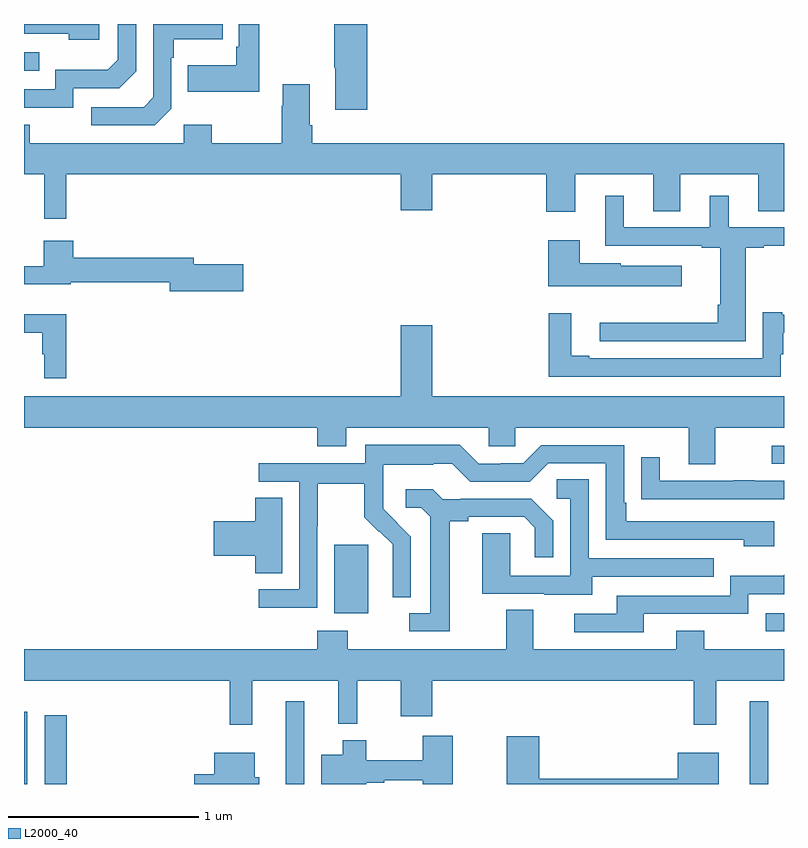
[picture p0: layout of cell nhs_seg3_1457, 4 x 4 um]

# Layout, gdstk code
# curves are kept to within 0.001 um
import gdstk
lib = gdstk.Library(unit=1e-6, precision=1e-09)
def R(c, l, rs):  # rectangles x0, y0, x1, y1
    for r in rs: c.add(gdstk.rectangle(r[:2], r[2:], *l))
def P(c, l, *ps):  # polygons
    for p in ps: c.add(gdstk.Polygon(p, *l))
L2000_40 = (2000, 40)

nhs_seg3_1457 = lib.new_cell('nhs_seg3_1457')
R(nhs_seg3_1457, L2000_40, [(187,672.4,187.018,672.781), (187.11,672.4,187.226,672.763), (188.378,672.4,188.475,672.835), (190.82,672.4,190.917,672.835), (190.905,673.203,191,673.299), (188.633,673.298,188.812,673.659), (190.935,674.085,191,674.181), (187,676.155,187.079,676.251)])
P(nhs_seg3_1457, L2000_40, [(187.396,676.4),(187,676.4),(187,676.35),(187.235,676.35),(187.235,676.316),(187.396,676.316)],
  [(188.239,676.4),(188.13,676.4),(188.13,676.279),(188.118,676.279),(188.118,676.183),(187.861,676.183),(187.861,676.043),(188.239,676.043)],
  [(188.807,676.4),(188.632,676.4),(188.632,676.171),(188.639,676.171),(188.639,675.948),(188.807,675.948)],
  [(187.776,675.954),(187.776,676.223),(187.789,676.223),(187.789,676.319),(188.045,676.319),(188.045,676.4),(187.68,676.4),(187.68,676.014),(187.629,675.963),(187.353,675.963),(187.353,675.867),(187.689,675.867)],
  [(187.26,676.062),(187.5,676.062),(187.59,676.152),(187.59,676.4),(187.494,676.4),(187.494,676.212),(187.441,676.159),(187.164,676.159),(187.164,676.056),(187,676.056),(187,675.96),(187.26,675.96)],
  [(187.223,675.608),(188.984,675.608),(188.984,675.42),(189.148,675.42),(189.148,675.608),(189.749,675.608),(189.749,675.411),(189.901,675.411),(189.901,675.608),(190.313,675.608),(190.313,675.415),(190.453,675.415),(190.453,675.608),(190.865,675.608),(190.865,675.415),(191,675.415),(191,675.772),(188.516,675.772),(188.516,675.868),(188.503,675.868),(188.503,676.084),(188.363,676.084),(188.363,675.971),(188.356,675.971),(188.356,675.772),(187.989,675.772),(187.989,675.871),(187.842,675.871),(187.842,675.772),(187.029,675.772),(187.029,675.871),(187,675.871),(187,675.608),(187.106,675.608),(187.106,675.375),(187.223,675.375)],
  [(190.798,675.222),(190.894,675.222),(190.894,675.234),(191,675.234),(191,675.33),(190.708,675.33),(190.708,675.496),(190.61,675.496),(190.61,675.33),(190.156,675.33),(190.156,675.496),(190.058,675.496),(190.058,675.234),(190.568,675.234),(190.568,675.222),(190.664,675.222),(190.664,674.923),(190.652,674.923),(190.652,674.828),(190.029,674.828),(190.029,674.73),(190.798,674.73)],
  [(190.462,675.127),(190.14,675.127),(190.14,675.142),(189.925,675.142),(189.925,675.262),(189.758,675.262),(189.758,675.02),(190.462,675.02)],
  [(188.155,675.135),(187.894,675.135),(187.894,675.169),(187.259,675.169),(187.259,675.259),(187.103,675.259),(187.103,675.126),(187,675.126),(187,675.029),(187.246,675.029),(187.246,675.04),(187.766,675.04),(187.766,674.993),(188.155,674.993)],
  [(190.984,674.663),(190.996,674.663),(190.996,674.774),(191,674.774),(191,674.871),(190.99,674.871),(190.99,674.884),(190.887,674.884),(190.887,674.64),(189.976,674.64),(189.976,674.653),(189.88,674.653),(189.88,674.878),(189.763,674.878),(189.763,674.544),(190.984,674.544)],
  [(187.223,674.872),(187,674.872),(187,674.774),(187.095,674.774),(187.095,674.663),(187.106,674.663),(187.106,674.535),(187.223,674.535)],
  [(190.639,674.276),(191,674.276),(191,674.44),(189.148,674.44),(189.148,674.815),(188.984,674.815),(188.984,674.44),(187,674.44),(187,674.276),(188.543,674.276),(188.543,674.177),(188.695,674.177),(188.695,674.276),(189.447,674.276),(189.447,674.178),(189.585,674.178),(189.585,674.276),(190.499,674.276),(190.499,674.082),(190.639,674.082)],
  [(188.544,673.756),(188.547,673.756),(188.547,673.98),(188.791,673.98),(188.791,673.805),(188.868,673.728),(188.871,673.731),(188.942,673.661),(188.942,673.538),(188.94,673.538),(188.94,673.384),(189.036,673.384),(189.036,673.702),(188.89,673.85),(188.89,673.947),(188.892,673.947),(188.892,674.081),(189.155,674.081),(189.155,674.085),(189.255,674.085),(189.348,673.992),(189.663,673.992),(189.759,674.088),(190.062,674.088),(190.062,673.686),(190.787,673.686),(190.787,673.652),(190.948,673.652),(190.948,673.782),(190.171,673.782),(190.171,673.879),(190.158,673.879),(190.158,674.184),(189.723,674.184),(189.627,674.088),(189.509,674.088),(189.509,674.085),(189.393,674.085),(189.293,674.185),(188.796,674.185),(188.796,674.088),(188.235,674.088),(188.235,673.992),(188.448,673.992),(188.448,673.425),(188.235,673.425),(188.235,673.327),(188.544,673.327)],
  [(191,673.995),(190.847,673.995),(190.847,674),(190.735,674),(190.735,673.995),(190.345,673.995),(190.345,674.119),(190.249,674.119),(190.249,673.9),(190.351,673.9),(190.351,673.899),(191,673.899)],
  [(189.991,673.491),(190.631,673.491),(190.631,673.587),(189.972,673.587),(189.972,674.003),(189.804,674.003),(189.804,673.902),(189.876,673.902),(189.876,673.497),(189.558,673.497),(189.558,673.721),(189.413,673.721),(189.413,673.401),(189.737,673.401),(189.737,673.397),(189.991,673.397)],
  [(189.241,673.784),(189.337,673.784),(189.337,673.806),(189.632,673.806),(189.689,673.749),(189.689,673.593),(189.786,673.593),(189.786,673.786),(189.67,673.902),(189.298,673.902),(189.298,673.899),(189.204,673.899),(189.152,673.951),(189.009,673.951),(189.009,673.854),(189.09,673.854),(189.137,673.807),(189.137,673.299),(189.027,673.299),(189.027,673.203),(189.241,673.203)],
  [(188.359,673.907),(188.216,673.907),(188.216,673.784),(187.998,673.784),(187.998,673.601),(188.216,673.601),(188.216,673.51),(188.359,673.51)],
  [(190.261,673.296),(190.812,673.296),(190.812,673.398),(191,673.398),(191,673.502),(190.993,673.495),(190.716,673.495),(190.716,673.392),(190.121,673.392),(190.121,673.296),(189.897,673.296),(189.897,673.2),(190.261,673.2)],
  [(188.201,672.944),(188.654,672.944),(188.654,672.716),(188.754,672.716),(188.754,672.944),(188.984,672.944),(188.984,672.756),(189.148,672.756),(189.148,672.944),(190.525,672.944),(190.525,672.711),(190.643,672.711),(190.643,672.944),(191,672.944),(191,673.108),(190.581,673.108),(190.581,673.207),(190.433,673.207),(190.433,673.108),(189.679,673.108),(189.679,673.316),(189.539,673.316),(189.539,673.108),(188.703,673.108),(188.703,673.207),(188.543,673.207),(188.543,673.108),(187,673.108),(187,672.944),(188.083,672.944),(188.083,672.711),(188.201,672.711)],
  [(188.8,672.406),(188.896,672.406),(188.896,672.421),(189.098,672.421),(189.098,672.4),(189.256,672.4),(189.256,672.655),(189.098,672.655),(189.098,672.525),(188.8,672.525),(188.8,672.631),(188.678,672.631),(188.678,672.553),(188.564,672.553),(188.564,672.4),(188.8,672.4)],
  [(190.657,672.565),(190.442,672.565),(190.442,672.428),(189.713,672.428),(189.713,672.652),(189.542,672.652),(189.542,672.4),(190.657,672.4)],
  [(188.239,672.435),(188.215,672.435),(188.215,672.565),(188,672.565),(188,672.452),(187.895,672.452),(187.895,672.4),(188.239,672.4)])

lib.write_gds('nhs_seg3_1457.gds')
